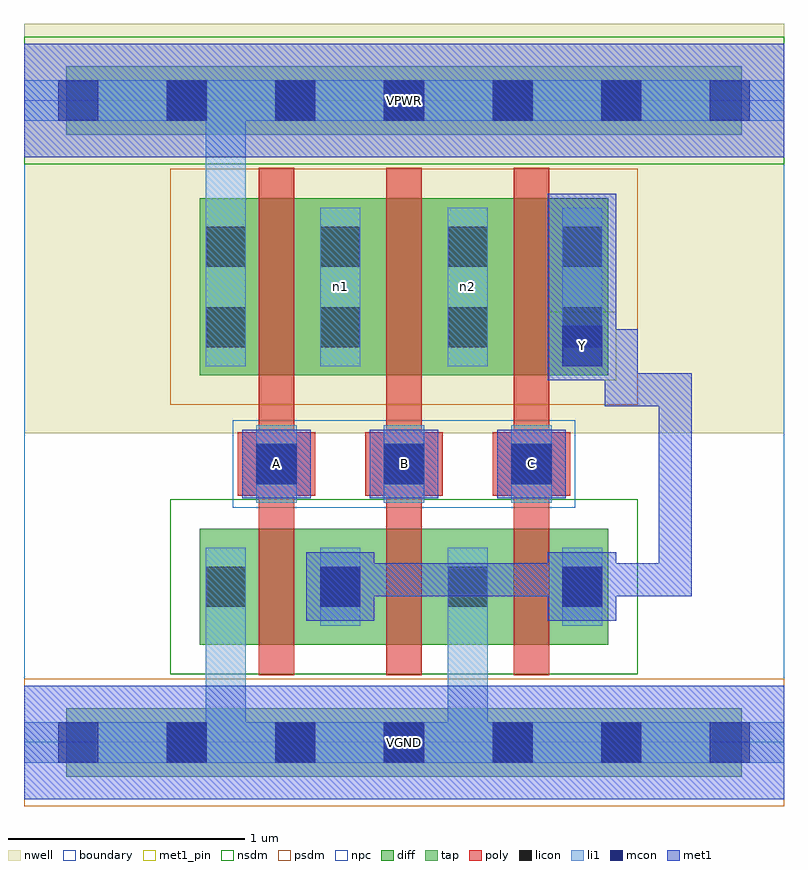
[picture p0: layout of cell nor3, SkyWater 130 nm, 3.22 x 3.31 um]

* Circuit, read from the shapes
.subckt nor3 A B C VGND VPWR Y n1 n2
XM1 Y A VGND VGND sky130_fd_pr__nfet_01v8 w=0.49 l=0.15
XM2 VGND B Y VGND sky130_fd_pr__nfet_01v8 w=0.49 l=0.15
XM3 Y C VGND VGND sky130_fd_pr__nfet_01v8 w=0.49 l=0.15
XM4 n1 A VPWR VPWR sky130_fd_pr__pfet_01v8 w=0.75 l=0.15
XM5 n2 B n1 VPWR sky130_fd_pr__pfet_01v8 w=0.75 l=0.15
XM6 Y C n2 VPWR sky130_fd_pr__pfet_01v8 w=0.75 l=0.15
.ends

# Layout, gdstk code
import gdstk
lib = gdstk.Library(unit=1e-6, precision=1e-09)
def R(c, l, rs):  # rectangles x0, y0, x1, y1
    for r in rs: c.add(gdstk.rectangle(r[:2], r[2:], *l))
def A(c, l, x, y, w, h, nx, ny, dx, dy):  # array of equal rectangles
    R(c, l, [(x+i*dx, y+j*dy, x+i*dx+w, y+j*dy+h) for i in range(nx) for j in range(ny)])
nwell = (64, 20)
diff = (65, 20)
tap = (65, 44)
poly = (66, 20)
licon = (66, 44)
li1 = (67, 20)
mcon = (67, 44)
met1_pin = (68, 16)
met1 = (68, 20)
nsdm = (93, 44)
psdm = (94, 20)
npc = (95, 20)
boundary = (235, 4)

nor3 = lib.new_cell('nor3')
R(nor3, nwell, [(0,1.31,3.22,3.045)])
R(nor3, diff, [(0.745,0.415,2.475,0.905), (0.745,1.555,2.475,2.305)])
R(nor3, tap, [(0.18,-0.145,3.04,0.145), (0.18,2.575,3.04,2.865)])
A(nor3, poly, 0.995, 0.285, 0.15, 2.15, 3, 1, 0.54, 0)
A(nor3, poly, 0.905, 1.045, 0.33, 0.27, 3, 1, 0.54, 0)
A(nor3, licon, 0.605, -0.085, 0.17, 0.17, 5, 2, 0.46, 2.72)
A(nor3, licon, 0.985, 1.095, 0.17, 0.17, 3, 1, 0.54, 0)
R(nor3, licon, [(0.77,0.575,0.94,0.745), (1.255,0.575,1.425,0.745), (1.795,0.575,1.965,0.745), (2.28,0.575,2.45,0.745), (0.77,1.675,0.94,1.845), (1.255,1.675,1.425,1.845), (1.795,1.675,1.965,1.845), (2.28,1.675,2.45,1.845), (0.77,2.015,0.94,2.185), (1.255,2.015,1.425,2.185), (1.795,2.015,1.965,2.185), (2.28,2.015,2.45,2.185)])
A(nor3, li1, 0.985, 1.015, 0.17, 0.33, 3, 1, 0.54, 0)
R(nor3, li1, [(0,-0.085,3.22,0.085), (0.77,-0.085,0.94,0.825), (1.795,-0.085,1.965,0.825), (0.77,0.495,0.94,0.825), (1.255,0.495,1.425,0.825), (1.795,0.495,1.965,0.825), (2.28,0.495,2.45,0.825), (0.77,1.595,0.94,2.265), (0.77,1.595,0.94,2.805), (1.255,1.595,1.425,2.265), (1.795,1.595,1.965,2.265), (2.28,1.595,2.45,2.265), (0,2.635,3.22,2.805)])
A(nor3, mcon, 0.145, -0.085, 0.17, 0.17, 7, 2, 0.46, 2.72)
A(nor3, mcon, 0.985, 1.095, 0.17, 0.17, 3, 1, 0.54, 0)
R(nor3, mcon, [(1.255,0.575,1.425,0.745), (2.28,0.575,2.45,0.745), (2.28,1.595,2.45,1.765)])
A(nor3, met1_pin, 0.925, 1.035, 0.29, 0.29, 3, 1, 0.54, 0)
R(nor3, met1_pin, [(0,-0.24,3.22,0.24), (2.22,1.535,2.51,1.825), (0,2.48,3.22,2.96)])
A(nor3, met1, 0.925, 1.035, 0.29, 0.29, 3, 1, 0.54, 0)
R(nor3, met1, [(0,-0.24,3.22,0.24), (1.195,0.515,1.485,0.805), (2.22,0.515,2.51,0.805), (1.31,0.62,1.45,0.76), (1.31,0.62,2.37,0.76), (2.23,0.62,2.37,0.76), (2.23,0.62,2.83,0.76), (2.69,0.62,2.83,1.565), (2.46,1.425,2.6,1.75), (2.46,1.425,2.83,1.565), (2.46,1.425,2.6,1.68), (2.22,1.535,2.51,1.825), (2.22,1.535,2.51,2.325), (2.345,1.54,2.485,1.68), (2.345,1.54,2.6,1.68), (2.295,1.61,2.6,1.75), (0,2.48,3.22,2.96)])
R(nor3, nsdm, [(0.62,0.29,2.6,1.03), (0,2.45,3.22,2.99)])
R(nor3, psdm, [(0,-0.27,3.22,0.27), (0.62,1.43,2.6,2.43)])
R(nor3, npc, [(0.885,0.995,2.335,1.365)])
R(nor3, boundary, [(0,0,3.22,2.72)])
nor3.add(gdstk.Label('n1', (1.34,1.93), layer=67, texttype=5))
nor3.add(gdstk.Label('n2', (1.88,1.93), layer=67, texttype=5))
nor3.add(gdstk.Label('A', (1.07,1.18), layer=68, texttype=5))
nor3.add(gdstk.Label('B', (1.61,1.18), layer=68, texttype=5))
nor3.add(gdstk.Label('C', (2.15,1.18), layer=68, texttype=5))
nor3.add(gdstk.Label('Y', (2.365,1.68), layer=68, texttype=5))
nor3.add(gdstk.Label('VPWR', (1.61,2.72), layer=68, texttype=5))
nor3.add(gdstk.Label('VGND', (1.61,0), layer=68, texttype=5))
nor3.add(gdstk.Label('A', (1.07,1.18), layer=68, texttype=16))
nor3.add(gdstk.Label('B', (1.61,1.18), layer=68, texttype=16))
nor3.add(gdstk.Label('C', (2.15,1.18), layer=68, texttype=16))
nor3.add(gdstk.Label('Y', (2.365,1.68), layer=68, texttype=16))
nor3.add(gdstk.Label('VPWR', (1.61,2.72), layer=68, texttype=16))
nor3.add(gdstk.Label('VGND', (1.61,0), layer=68, texttype=16))

lib.write_gds('nor3.gds')
